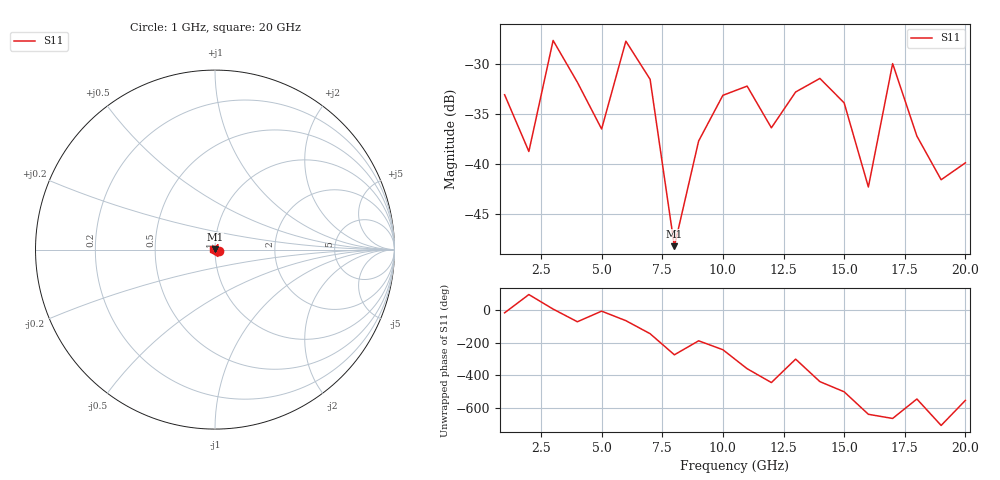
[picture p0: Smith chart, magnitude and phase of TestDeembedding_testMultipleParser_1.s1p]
# MHz MA S R 50.0
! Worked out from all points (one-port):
!   20 points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, 1 GHz to 20 GHz, reference 50 ohm
!   lowest |S11| = -48.2 dB at 8 GHz (marker M1), VSWR 1.01, Z = 50 + j0.387 ohm
!   |S11| at or under -10 dB: start of sweep to end of sweep
1000  0.02228 -19.1
2000  0.01158 92.2
3000  0.0417 3.7
4000  0.02574 -73.5
5000  0.01501 -8.9
6000  0.04136 -66.8
7000  0.02662 -146.2
8000  0.003882 85.3
9000  0.01306 170.5
10000  0.02213 116.3
11000  0.02462 0.7
12000  0.01522 -83.7
13000  0.02301 59.0
14000  0.0269 -78.0
15000  0.0203 -139.7
16000  0.007684 83.1
17000  0.03193 57.9
18000  0.01383 176.3
19000  0.008356 15.2
20000  0.01016 167.9
